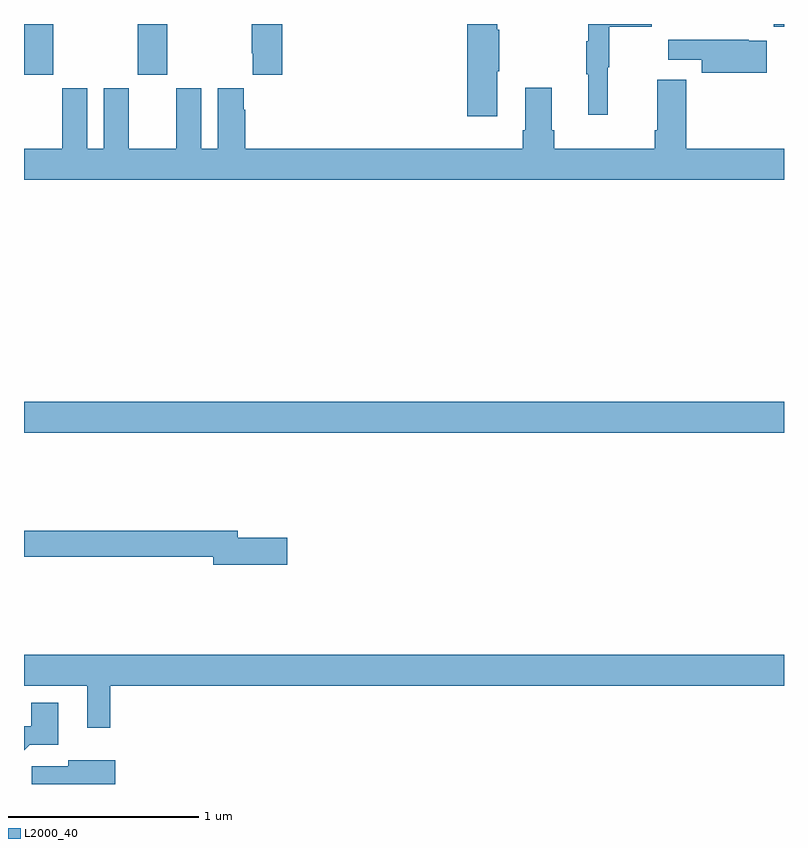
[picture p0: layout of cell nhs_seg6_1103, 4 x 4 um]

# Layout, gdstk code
import gdstk
lib = gdstk.Library(unit=1e-6, precision=1e-09)
def R(c, l, rs):  # rectangles x0, y0, x1, y1
    for r in rs: c.add(gdstk.rectangle(r[:2], r[2:], *l))
def P(c, l, *ps):  # polygons
    for p in ps: c.add(gdstk.Polygon(p, *l))
L2000_40 = (2000, 40)

nhs_seg6_1103 = lib.new_cell('nhs_seg6_1103')
R(nhs_seg6_1103, L2000_40, [(179,935.348,183,935.512), (179,937.233,179.154,937.5), (179.599,937.233,179.754,937.5), (182.946,937.486,183,937.5)])
P(nhs_seg6_1103, L2000_40, [(181.492,937.252),(181.5,937.252),(181.5,937.469),(181.492,937.469),(181.492,937.5),(181.334,937.5),(181.334,937.014),(181.492,937.014)],
  [(182.072,937.272),(182.08,937.272),(182.08,937.486),(182.303,937.486),(182.303,937.5),(181.97,937.5),(181.97,937.409),(181.959,937.409),(181.959,937.235),(181.97,937.235),(181.97,937.023),(182.072,937.023)],
  [(180.359,937.5),(180.199,937.5),(180.199,937.345),(180.203,937.345),(180.203,937.233),(180.359,937.233)],
  [(182.91,937.413),(182.814,937.413),(182.814,937.417),(182.391,937.417),(182.391,937.313),(182.567,937.313),(182.567,937.244),(182.91,937.244)],
  [(183,936.844),(182.486,936.844),(182.486,937.207),(182.333,937.207),(182.333,936.94),(182.321,936.94),(182.321,936.844),(181.79,936.844),(181.79,936.94),(181.777,936.94),(181.777,937.165),(181.637,937.165),(181.637,936.94),(181.625,936.94),(181.625,936.844),(180.164,936.844),(180.164,937.049),(180.157,937.049),(180.157,937.162),(180.02,937.162),(180.02,936.844),(179.932,936.844),(179.932,937.162),(179.801,937.162),(179.801,936.844),(179.551,936.844),(179.551,937.162),(179.42,937.162),(179.42,936.844),(179.332,936.844),(179.332,937.162),(179.201,937.162),(179.201,936.844),(179,936.844),(179,936.68),(183,936.68)],
  [(180.385,934.796),(180.124,934.796),(180.124,934.832),(179,934.832),(179,934.696),(179.996,934.696),(179.996,934.654),(180.385,934.654)],
  [(179.455,934.016),(183,934.016),(183,934.18),(179,934.18),(179,934.016),(179.333,934.016),(179.333,933.795),(179.455,933.795)],
  [(179.03,933.707),(179.179,933.707),(179.179,933.928),(179.039,933.928),(179.039,933.805),(179,933.805),(179,933.677)],
  [(179.479,933.625),(179.234,933.625),(179.234,933.593),(179.04,933.593),(179.04,933.5),(179.479,933.5)])

lib.write_gds('nhs_seg6_1103.gds')
